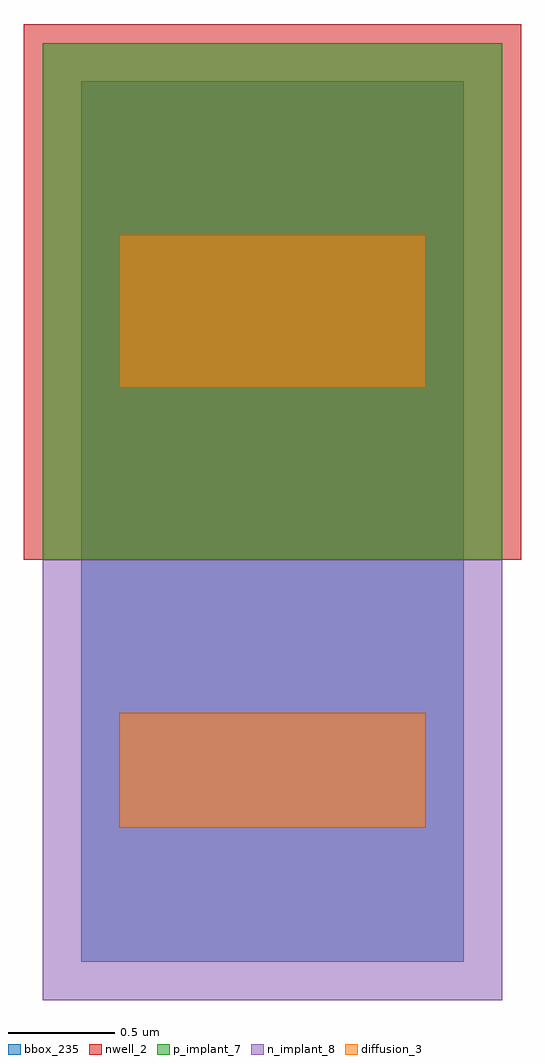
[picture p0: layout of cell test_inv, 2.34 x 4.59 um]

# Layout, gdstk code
import gdstk
lib = gdstk.Library(unit=1e-6, precision=1e-09)
def R(c, l, rs):  # rectangles x0, y0, x1, y1
    for r in rs: c.add(gdstk.rectangle(r[:2], r[2:], *l))
nwell_2 = (2, 0)
diffusion_3 = (3, 0)
p_implant_7 = (7, 0)
n_implant_8 = (8, 0)
bbox_235 = (62, 0)

test_inv = lib.new_cell('test_inv')
R(test_inv, nwell_2, [(-0.27,1.89,2.07,4.41)])
R(test_inv, diffusion_3, [(0.18,0.63,1.62,1.17), (0.18,2.7,1.62,3.42)])
R(test_inv, p_implant_7, [(-0.18,1.89,1.98,4.32)])
R(test_inv, n_implant_8, [(-0.18,-0.18,1.98,1.89)])
R(test_inv, bbox_235, [(0,0,1.8,4.14)])

lib.write_gds('test_inv.gds')
